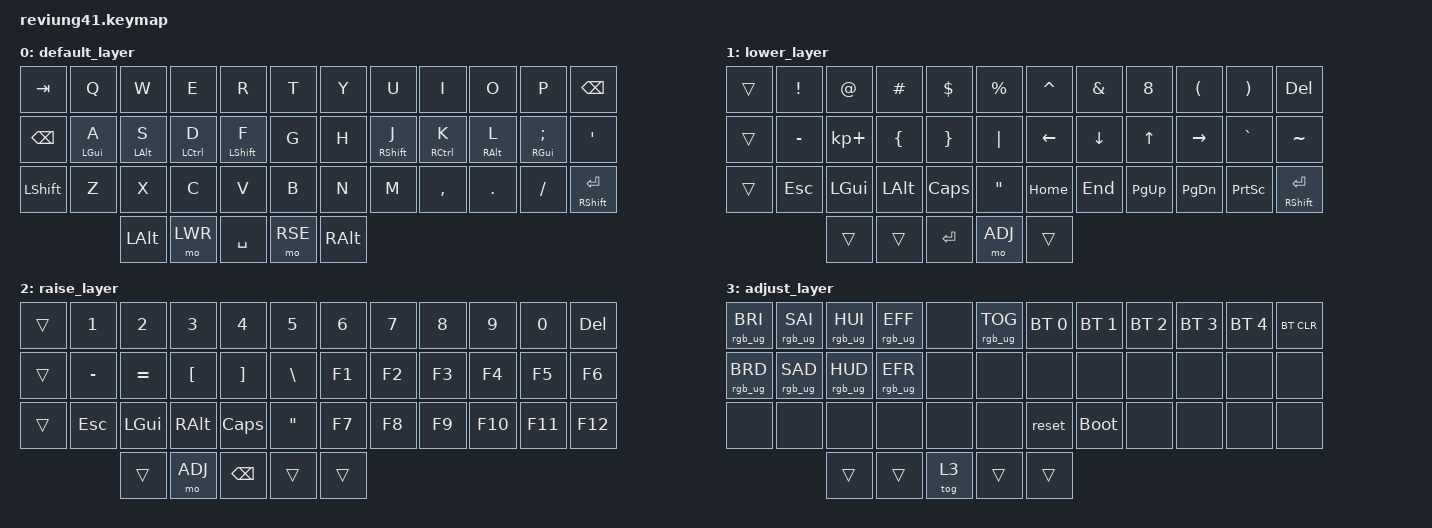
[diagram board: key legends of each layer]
/*
 * Copyright (c) 2020 The ZMK Contributors
 *
 * SPDX-License-Identifier: MIT
 */

#include <behaviors.dtsi>
#include <dt-bindings/zmk/keys.h>
#include <dt-bindings/zmk/bt.h>
#include <dt-bindings/zmk/rgb.h>

#define DFLT    0
#define LWR     1
#define RSE     2
#define ADJ     3

/ {
        behaviors {        
                hm: homerow_mods {            
                        compatible = "zmk,behavior-hold-tap";
                        label = "HOMEROW_MODS";
                        #binding-cells = <2>;
                        tapping-term-ms = <150>;
                        quick-tap-ms = <0>;
                        flavor = "tap-preferred";
                        bindings = <&kp>, <&kp>;
                };
        };

        keymap {
                compatible = "zmk,keymap";

                default_layer {
// -------------------------------------------------------------------------------------
// |  TAB |  Q  |  W  |  E  |  R  |  T  |   |  Y  |  U   |  I  |  O  |  P  |   BKSP    |
// | BKSP |  A  |  S  |  D  |  F  |  G  |   |  H  |  J   |  K  |  L  |  ;  |    '      |
// | SHFT |  Z  |  X  |  C  |  V  |  B  |   |  N  |  M   |  ,  |  .  |  /  | SHFT(RET) |
//                         | ALT | LWR | SPC | RSE  | ALT |
                        bindings = <
   &kp TAB   &kp Q      &kp W           &kp E           &kp R           &kp T   &kp Y &kp U             &kp I           &kp O           &kp P           &kp BSPC
   &kp BSPC  &hm LGUI A &hm LALT S      &hm LCTRL D     &hm LSHFT F     &kp G   &kp H &hm RSHFT J       &hm RCTRL K     &hm RALT L      &hm RGUI SEMI   &kp SQT
   &kp LSHFT &kp Z      &kp X &kp C &kp V &kp B   &kp N &kp M  &kp COMMA &kp DOT &kp FSLH &mt RSHFT RET
                        &kp LALT &mo LWR &kp SPACE &mo RSE &kp RALT
                        >;
                };

                lower_layer {
// ----------------------------------------------------------------------------------
// |    |  !  |  @  |  #  |  $  |  %  |   |  ^  |  &  |  *  |  (  |  )  |    DEL    |
// |    |  _  |  +  |  {  |  }  | "|" |   | LFT | DWN |  UP | RGT |  `  |     ~     |
// |    | ESC | GUI | ALT | CAPS|  "  |   | HOME| END | PGUP| PGDN| PRSC| SHFT(RET) |
//                       |     |     | RET | ADJ |     |
                        bindings = <
   &trans &kp EXCL  &kp AT      &kp HASH &kp DLLR &kp PRCNT      &kp CARET &kp AMPS &kp N8    &kp LPAR  &kp RPAR  &kp DEL
   &trans &kp MINUS &kp KP_PLUS &kp LBRC &kp RBRC &kp PIPE       &kp LEFT  &kp DOWN &kp UP    &kp RIGHT &kp GRAVE &kp TILDE
   &trans &kp ESC   &kp LGUI    &kp LALT &kp CLCK &kp DQT        &kp HOME  &kp END  &kp PG_UP &kp PG_DN &kp PSCRN &mt RSHFT RET
                                 &trans      &trans       &kp RET        &mo ADJ    &trans
                        >;
                };

                raise_layer {
// -----------------------------------------------------------------------------------------
// |    |  1  |  2  |  3  |  4  |  5  |   |  6  |  7  |  8  |  9  |  0  | DEL |
// |    |  -  |  =  |  [  |  ]  |  \  |   | F1  | F2  | F3  | F4  | F5  | F6  |
// |    | ESC | GUI | ALT | CAPS|  "  |   | F7  | F8  | F9  | F10 | F11 | F12 |
//                       |     | ADJ | BKSP |    |     |
                        bindings = <
   &trans &kp N1    &kp N2    &kp N3    &kp N4    &kp N5        &kp N6    &kp N7    &kp N8    &kp N9    &kp N0    &kp DEL
   &trans &kp MINUS &kp EQUAL &kp LBKT  &kp RBKT  &kp BSLH      &kp F1    &kp F2    &kp F3    &kp F4    &kp F5    &kp F6
   &trans &kp ESC   &kp LGUI  &kp RALT  &kp CLCK  &kp DQT       &kp F7    &kp F8    &kp F9    &kp F10   &kp F11   &kp F12
                                &trans      &mo ADJ       &kp BSPC       &trans     &trans
                        >;
                };

                adjust_layer {
// -----------------------------------------------------------------------------------------
// | RGB BRI+ | RGB SAT+ | RGB HUE+ | RGB ANI+ |    | RGB TOG |   |  BT1  | BT2 | BT3 | BT4 | BT5 | BT CLR |
// | RGB BRI- | RGB SAT- | RGB HUE- | RGB ANI- |    |         |   |       |     |     |     |     |        |
// |          |          |          |          |    |         |   | RESET |     |     |     |     |        |
//                                              |     |     |     |     |     |
                        bindings = <
   &rgb_ug RGB_BRI &rgb_ug RGB_SAI &rgb_ug RGB_HUI &rgb_ug RGB_EFF &none &rgb_ug RGB_TOG    &bt BT_SEL 0 &bt BT_SEL 1 &bt BT_SEL 2 &bt BT_SEL 3 &bt BT_SEL 4 &bt BT_CLR
   &rgb_ug RGB_BRD &rgb_ug RGB_SAD &rgb_ug RGB_HUD &rgb_ug RGB_EFR &none &none              &none        &none        &none        &none        &none        &none
   &none           &none           &none           &none           &none &none              &reset       &bootloader  &none        &none        &none        &none
                                                             &trans      &trans       &tog 3        &trans      &trans
                        >;
                };
        };
};
